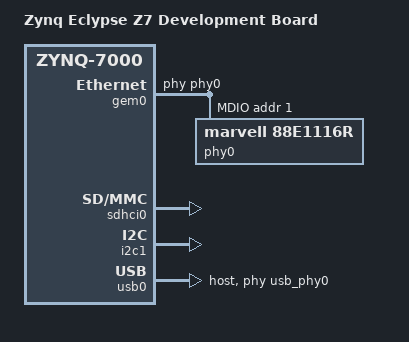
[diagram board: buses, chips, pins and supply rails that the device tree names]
/include/ "system-conf.dtsi"
/ {
	model = "Zynq Eclypse Z7 Development Board";
	compatible = "digilent,zynq-zyboz7", "xlnx,zynq-7000";

	chosen {
		bootargs = "console=ttyPS0,921600 earlyprintk uio_pdrv_genirq.of_id=generic-uio";
	};

	usb_phy0: usb_phy@0 {
		compatible = "ulpi-phy";
		#phy-cells = <0>;
		reg = <0xe0002000 0x1000>;
		view-port = <0x0170>;
		drv-vbus;
	};
};
&gem0 {
	phy-handle = <&phy0>;
	ps7_ethernet_0_mdio: mdio {
		phy0: phy@1 {
			compatible = "marvell,88e1116r";
			device_type = "ethernet-phy";
			reg = <1>;
		};
	};
};
&sdhci0 {
	status = "okay";
};

&i2c1 {
        status = "okay";
        device-name = "pmcu-i2c";
};

&usb0 {
	dr_mode = "host";
	status 	= "okay";
	usb-phy = <&usb_phy0>;
};
